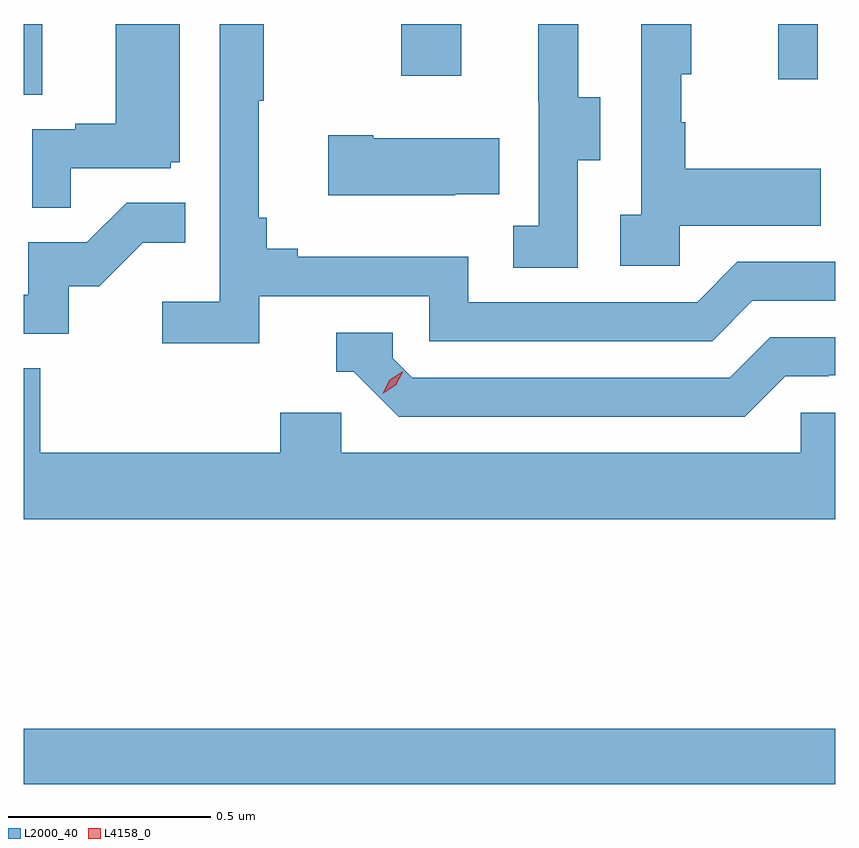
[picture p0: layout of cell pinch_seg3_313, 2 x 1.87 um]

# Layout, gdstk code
import gdstk
lib = gdstk.Library(unit=1e-6, precision=1e-09)
def R(c, l, rs):  # rectangles x0, y0, x1, y1
    for r in rs: c.add(gdstk.rectangle(r[:2], r[2:], *l))
def P(c, l, *ps):  # polygons
    for p in ps: c.add(gdstk.Polygon(p, *l))
L2000_40 = (2000, 40)
L4158_0 = (4158, 0)

pinch_seg3_313 = lib.new_cell('pinch_seg3_313')
R(pinch_seg3_313, L2000_40, [(964.095,713.584,966.095,713.72), (964.095,715.282,964.141,715.456), (965.954,715.32,966.051,715.456), (965.026,715.329,965.173,715.456)])
P(pinch_seg3_313, L2000_40, [(964.211,715.101),(964.458,715.101),(964.458,715.116),(964.48,715.116),(964.48,715.456),(964.322,715.456),(964.322,715.21),(964.223,715.21),(964.223,715.197),(964.116,715.197),(964.116,715.003),(964.211,715.003)],
  [(965.712,714.959),(966.059,714.959),(966.059,715.099),(965.725,715.099),(965.725,715.214),(965.715,715.214),(965.715,715.332),(965.74,715.332),(965.74,715.456),(965.616,715.456),(965.616,714.986),(965.565,714.986),(965.565,714.861),(965.712,714.861)],
  [(964.676,714.786),(965.094,714.786),(965.094,714.675),(965.791,714.675),(965.89,714.774),(966.095,714.774),(966.095,714.87),(965.853,714.87),(965.754,714.771),(965.19,714.771),(965.19,714.883),(964.771,714.883),(964.771,714.902),(964.694,714.902),(964.694,714.979),(964.675,714.979),(964.675,715.267),(964.687,715.267),(964.687,715.456),(964.578,715.456),(964.578,714.772),(964.437,714.772),(964.437,714.67),(964.676,714.67)],
  [(965.46,715.12),(965.515,715.12),(965.515,715.275),(965.461,715.275),(965.461,715.456),(965.363,715.456),(965.363,715.263),(965.364,715.263),(965.364,714.959),(965.301,714.959),(965.301,714.856),(965.46,714.856)],
  [(965.159,715.037),(965.267,715.037),(965.267,715.174),(964.957,715.174),(964.957,715.182),(964.845,715.182),(964.845,715.034),(965.159,715.034)],
  [(964.206,714.81),(964.282,714.81),(964.389,714.917),(964.493,714.917),(964.493,715.016),(964.349,715.016),(964.251,714.918),(964.107,714.918),(964.107,714.789),(964.095,714.789),(964.095,714.693),(964.206,714.693)],
  [(965.971,714.588),(966.078,714.588),(966.078,714.591),(966.095,714.591),(966.095,714.684),(965.934,714.684),(965.835,714.585),(965.052,714.585),(965.004,714.633),(965.004,714.696),(964.865,714.696),(964.865,714.6),(964.908,714.6),(965.019,714.489),(965.872,714.489)],
  [(966.095,714.498),(966.009,714.498),(966.009,714.4),(964.878,714.4),(964.878,714.498),(964.727,714.498),(964.727,714.4),(964.136,714.4),(964.136,714.608),(964.095,714.608),(964.095,714.236),(966.095,714.236)])
P(pinch_seg3_313, L4158_0, [(964.98,714.547),(964.98,714.547),(964.997,714.58),(965.028,714.599),(965.029,714.599),(965.029,714.598),(965.012,714.566),(964.981,714.547)])

lib.write_gds('pinch_seg3_313.gds')
